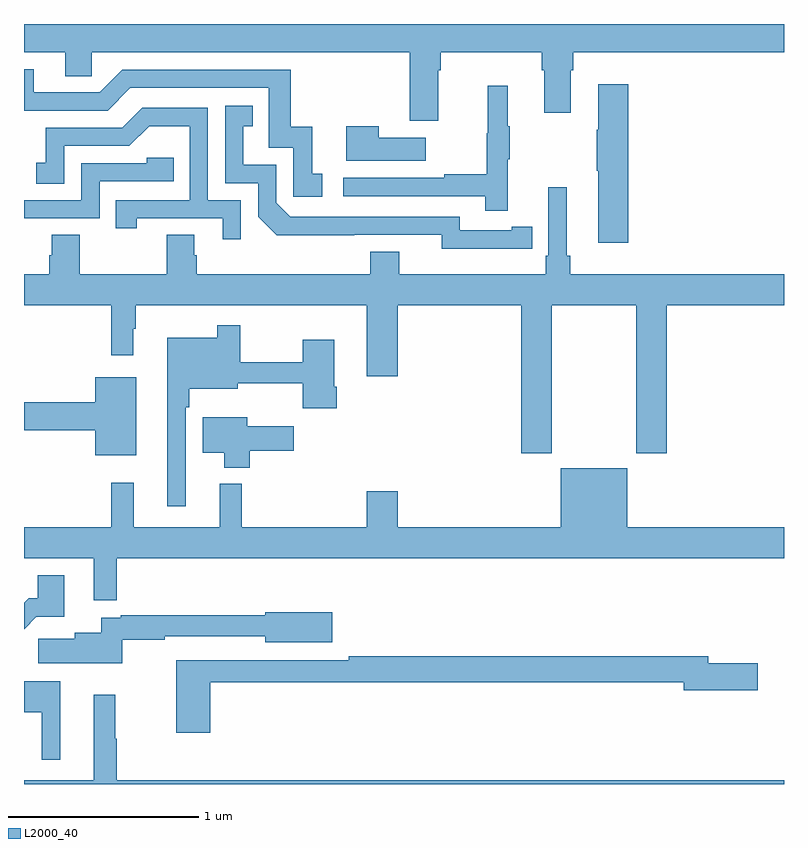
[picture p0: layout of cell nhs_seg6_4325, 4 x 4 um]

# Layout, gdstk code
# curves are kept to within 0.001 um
import gdstk
lib = gdstk.Library(unit=1e-6, precision=1e-09)
def P(c, l, *ps):  # polygons
    for p in ps: c.add(gdstk.Polygon(p, *l))
L2000_40 = (2000, 40)

nhs_seg6_4325 = lib.new_cell('nhs_seg6_4325')
P(nhs_seg6_4325, L2000_40, [(369.181,931.256),(369.194,931.256),(369.194,931.352),(369.725,931.352),(369.725,931.256),(369.737,931.256),(369.737,931.032),(369.877,931.032),(369.877,931.256),(369.89,931.256),(369.89,931.352),(371,931.352),(371,931.5),(367,931.5),(367,931.352),(367.217,931.352),(367.217,931.225),(367.356,931.225),(367.356,931.352),(369.029,931.352),(369.029,930.99),(369.181,930.99)],
  [(368.569,930.711),(368.516,930.711),(368.516,930.958),(368.405,930.958),(368.405,931.26),(367.518,931.26),(367.398,931.14),(367.051,931.14),(367.051,931.263),(367,931.263),(367,931.044),(367.44,931.044),(367.56,931.164),(368.289,931.164),(368.289,930.849),(368.418,930.849),(368.418,930.591),(368.569,930.591)],
  [(370.181,931.183),(370.022,931.183),(370.022,930.944),(370.015,930.944),(370.015,930.727),(370.022,930.727),(370.022,930.348),(370.181,930.348)],
  [(369.545,930.787),(369.556,930.787),(369.556,930.961),(369.545,930.961),(369.545,931.174),(369.442,931.174),(369.442,930.924),(369.435,930.924),(369.435,930.71),(369.211,930.71),(369.211,930.69),(368.679,930.69),(368.679,930.594),(369.427,930.594),(369.427,930.516),(369.545,930.516)],
  [(369.566,930.318),(369.674,930.318),(369.674,930.434),(369.566,930.434),(369.566,930.414),(369.294,930.414),(369.294,930.486),(368.4,930.486),(368.328,930.558),(368.328,930.759),(368.155,930.759),(368.155,930.963),(368.204,930.963),(368.204,931.069),(368.058,931.069),(368.058,930.663),(368.232,930.663),(368.232,930.486),(368.33,930.389),(369.198,930.39),(369.198,930.317)],
  [(368.142,930.573),(367.968,930.573),(367.968,931.059),(367.622,931.059),(367.517,930.954),(367.114,930.954),(367.114,930.769),(367.065,930.769),(367.065,930.66),(367.212,930.66),(367.212,930.858),(367.554,930.858),(367.658,930.962),(367.872,930.962),(367.872,930.573),(367.483,930.573),(367.483,930.426),(367.594,930.426),(367.594,930.477),(368.045,930.477),(368.045,930.366),(368.142,930.366)],
  [(369.115,930.901),(368.867,930.901),(368.867,930.961),(368.696,930.961),(368.696,930.779),(369.115,930.779)],
  [(367.398,930.672),(367.787,930.672),(367.787,930.795),(367.647,930.795),(367.647,930.768),(367.302,930.768),(367.302,930.573),(367,930.573),(367,930.477),(367.398,930.477)],
  [(369.777,930.02),(370.222,930.02),(370.222,929.241),(370.382,929.241),(370.382,930.02),(371,930.02),(371,930.184),(369.875,930.184),(369.875,930.28),(369.856,930.28),(369.856,930.64),(369.759,930.64),(369.759,930.28),(369.746,930.28),(369.746,930.184),(368.974,930.184),(368.974,930.301),(368.822,930.301),(368.822,930.184),(367.91,930.184),(367.91,930.282),(367.897,930.282),(367.897,930.392),(367.75,930.392),(367.75,930.184),(367.293,930.184),(367.293,930.392),(367.145,930.392),(367.145,930.282),(367.133,930.282),(367.133,930.184),(367,930.184),(367,930.02),(367.459,930.02),(367.459,929.757),(367.576,929.757),(367.576,929.897),(367.588,929.897),(367.588,930.02),(368.804,930.02),(368.804,929.646),(368.968,929.646),(368.968,930.02),(369.617,930.02),(369.617,929.241),(369.777,929.241)],
  [(367.851,929.483),(367.871,929.483),(367.871,929.579),(368.125,929.579),(368.125,929.608),(368.467,929.608),(368.467,929.478),(368.645,929.478),(368.645,929.59),(368.632,929.59),(368.632,929.839),(368.467,929.839),(368.467,929.719),(368.137,929.719),(368.137,929.914),(368.016,929.914),(368.016,929.848),(367.754,929.848),(367.754,928.962),(367.851,928.962)],
  [(367.591,929.641),(367.376,929.641),(367.376,929.51),(367,929.51),(367,929.363),(367.376,929.363),(367.376,929.231),(367.591,929.231)],
  [(368.189,929.254),(368.419,929.254),(368.419,929.383),(368.176,929.383),(368.176,929.431),(367.94,929.431),(367.94,929.243),(368.054,929.243),(368.054,929.165),(368.189,929.165)],
  [(367.489,928.688),(371,928.688),(371,928.852),(370.174,928.852),(370.174,929.161),(369.824,929.161),(369.824,928.852),(368.968,928.852),(368.968,929.041),(368.804,929.041),(368.804,928.852),(368.147,928.852),(368.147,929.08),(368.03,929.08),(368.03,928.852),(367.577,928.852),(367.577,929.086),(367.459,929.086),(367.459,928.852),(367,928.852),(367,928.688),(367.367,928.688),(367.367,928.467),(367.489,928.467)],
  [(367.064,928.379),(367.213,928.379),(367.213,928.6),(367.073,928.6),(367.073,928.477),(367.024,928.477),(367,928.453),(367,928.315)],
  [(367.516,928.258),(367.742,928.258),(367.742,928.278),(368.27,928.278),(368.27,928.247),(368.623,928.247),(368.623,928.405),(368.27,928.405),(368.27,928.387),(367.51,928.387),(367.51,928.374),(367.406,928.374),(367.406,928.297),(367.268,928.297),(367.268,928.265),(367.074,928.265),(367.074,928.136),(367.516,928.136)],
  [(367.979,928.036),(370.472,928.036),(370.472,927.994),(370.861,927.994),(370.861,928.136),(370.6,928.136),(370.6,928.172),(368.71,928.172),(368.71,928.152),(367.801,928.152),(367.801,927.771),(367.979,927.771)],
  [(367.192,928.042),(367,928.042),(367,927.878),(367.094,927.878),(367.094,927.627),(367.192,927.627)],
  [(371,927.52),(367.489,927.52),(367.489,927.737),(367.481,927.737),(367.481,927.97),(367.367,927.97),(367.367,927.52),(367,927.52),(367,927.5),(371,927.5)])

lib.write_gds('nhs_seg6_4325.gds')
